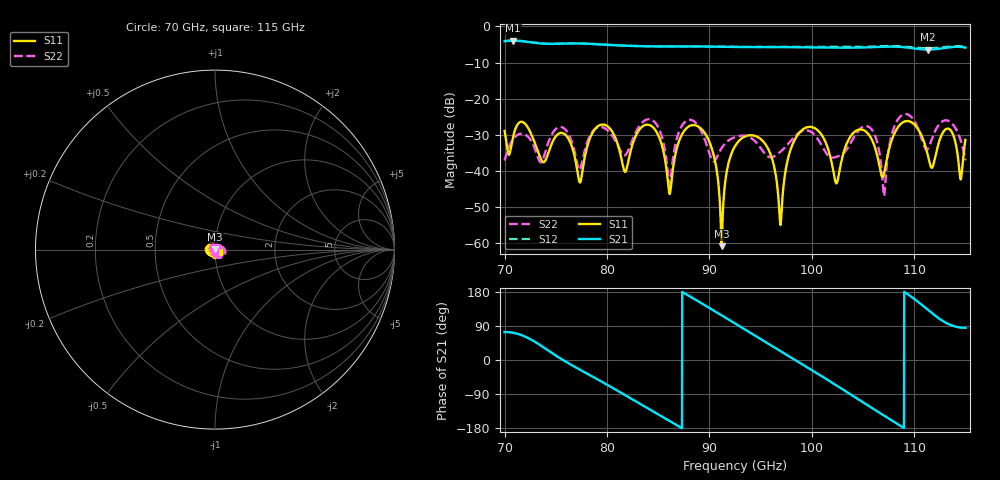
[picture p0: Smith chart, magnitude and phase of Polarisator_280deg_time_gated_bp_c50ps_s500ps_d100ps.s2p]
# Hz S RI R 1.000000
! Metas.Vna.Tools, 2.4.7898.19887
! Metas.Vna.Data, 2.4.7898.19873
! Created: UTC 2021.09.30 14:31:00
! FREQ  re:S1,1  im:S1,1  re:S2,1  im:S2,1  re:S1,2  im:S1,2  re:S2,2  im:S2,2
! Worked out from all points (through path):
!   2251 points, 70 GHz to 115 GHz, reference 1 ohm
!   highest |S21| = -3.96 dB at 70.84 GHz (marker M1); lowest = -6.4 dB at 111.4 GHz (marker M2)
!   lowest |S11| = -60.8 dB at 91.2 GHz (marker M3), VSWR 1.00, Z = 1 + j0.00177 ohm
!   |S11| at or under -10 dB: start of sweep to end of sweep
!   |S22| runs from -46.9 to -24.2 dB; largest |S21 - S12| = 0.11
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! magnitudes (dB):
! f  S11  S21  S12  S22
! 70 GHz  -28.9  -4.1  -4.0  -37.1
! 70.84 GHz  -30.4  -4.0  -3.9  -31.2
! 77.5 GHz  -41.8  -4.7  -4.7  -38.4
! 79.24 GHz  -27.4  -5.0  -4.9  -27.8
! 81.76 GHz  -40.2  -5.3  -5.3  -35.6
! 85 GHz  -30.1  -5.5  -5.5  -27.9
! 86.12 GHz  -46.4  -5.5  -5.5  -43.8
! 87.48 GHz  -29.1  -5.5  -5.5  -26.8
! 89.42 GHz  -29.0  -5.5  -5.5  -30.3
! 91.2 GHz  -60.8  -5.6  -5.6  -33.6
! 92.5 GHz  -33.1  -5.7  -5.6  -30.6
! 95.44 GHz  -32.5  -5.7  -5.6  -35.3
! 96.94 GHz  -55.0  -5.7  -5.6  -34.7
! 98.04 GHz  -33.2  -5.7  -5.6  -31.4
! 100 GHz  -27.8  -5.8  -5.7  -29.3
! 102.4 GHz  -43.4  -5.9  -5.7  -36.1
! 104.4 GHz  -28.8  -5.9  -5.7  -29.6
! 107 GHz  -40.9  -5.6  -5.4  -46.9
! 107.5 GHz  -34.5  -5.6  -5.4  -34.2
! 109.1 GHz  -26.3  -5.8  -5.6  -24.2
! 111.4 GHz  -36.0  -6.4  -6.0  -33.8
! 115 GHz  -31.4  -5.8  -5.6  -37.1
